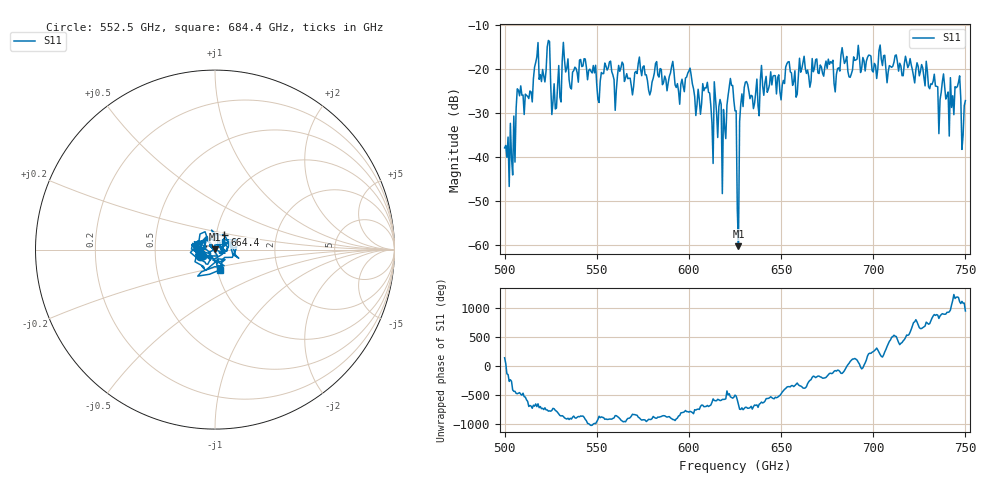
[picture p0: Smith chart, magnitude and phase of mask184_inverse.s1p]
!Created with skrf (http://scikit-rf.org).
# GHz S MA R 50.0
!freq magS11 angS11
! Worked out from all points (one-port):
!   401 points, 500 GHz to 750 GHz, reference 50 ohm
!   lowest |S11| = -60.4 dB at 626.9 GHz (marker M1), VSWR 1.00, Z = 50.1 + j0.0798 ohm
!   |S11| at or under -10 dB: start of sweep to end of sweep
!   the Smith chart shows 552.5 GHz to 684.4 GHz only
!   S11 on the Smith chart (normalised r, x): 552.5 GHz: 0.84, -0.06; 664.4 GHz: 1.09, +0.18; 684.4 GHz: 1.03, -0.24
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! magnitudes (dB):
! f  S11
! 500 GHz  -37.9
! 503.1 GHz  -32.3
! 507.5 GHz  -24.8
! 513.8 GHz  -25.0
! 516.9 GHz  -18.5
! 523.8 GHz  -13.4
! 526.9 GHz  -23.3
! 531.2 GHz  -18.2
! 552.5 GHz  -20.7
! 562.5 GHz  -20.5
! 578.8 GHz  -25.9
! 590.6 GHz  -19.3
! 593.8 GHz  -23.3
! 608.8 GHz  -24.2
! 619.4 GHz  -33.2
! 622.5 GHz  -22.1
! 625 GHz  -29.5
! 625.6 GHz  -29.5
! 626.9 GHz  -60.4
! 628.8 GHz  -25.6
! 631.2 GHz  -22.8
! 656.2 GHz  -23.7
! 664.4 GHz  -20.2
! 684.4 GHz  -18.7
! 687.5 GHz  -21.8
! 718.8 GHz  -19.6
! 745.6 GHz  -24.0
! 750 GHz  -27.2
